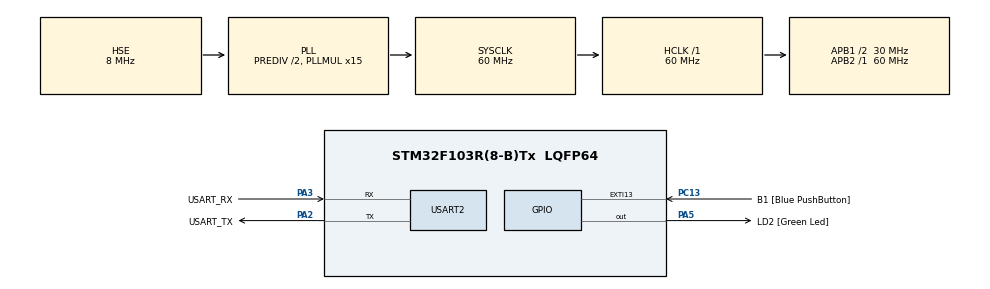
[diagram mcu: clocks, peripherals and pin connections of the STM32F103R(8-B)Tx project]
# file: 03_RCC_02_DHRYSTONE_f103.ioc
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Mcu.Family=STM32F1
Mcu.Name=STM32F103R(8-B)Tx
Mcu.Package=LQFP64
NVIC.EXTI15_10_IRQn=true\:0\:0\:false\:false\:true\:true\:true\:true
NVIC.PriorityGroup=NVIC_PRIORITYGROUP_4
PA13.GPIO_Label=TMS
PA13.Mode=Serial_Wire
PA13.Signal=SYS_JTMS-SWDIO
PA14.GPIO_Label=TCK
PA14.Mode=Serial_Wire
PA14.Signal=SYS_JTCK-SWCLK
PA2.GPIO_Label=USART_TX
PA2.GPIO_Mode=GPIO_MODE_AF_PP
PA2.GPIO_PuPd=GPIO_NOPULL
PA2.GPIO_Speed=GPIO_SPEED_FREQ_LOW
PA2.Mode=Asynchronous
PA2.Signal=USART2_TX
PA3.GPIO_Label=USART_RX
PA3.GPIO_Mode=GPIO_MODE_AF_PP
PA3.GPIO_PuPd=GPIO_NOPULL
PA3.GPIO_Speed=GPIO_SPEED_FREQ_LOW
PA3.Mode=Asynchronous
PA3.Signal=USART2_RX
PA5.GPIO_Label=LD2 [Green Led]
PA5.GPIO_ModeDefaultOutputPP=GPIO_MODE_OUTPUT_PP
PA5.GPIO_PuPd=GPIO_NOPULL
PA5.GPIO_Speed=GPIO_SPEED_FREQ_LOW
PA5.Signal=GPIO_Output
PB3.GPIO_Label=SWO
PB3.Signal=SYS_JTDO-TRACESWO
PC13-TAMPER-RTC.GPIO_Label=B1 [Blue PushButton]
PC13-TAMPER-RTC.GPIO_PuPd=GPIO_NOPULL
PC13-TAMPER-RTC.Signal=GPXTI13
PC14-OSC32_IN.Mode=LSE-External-Oscillator
PC14-OSC32_IN.Signal=RCC_OSC32_IN
PC15-OSC32_OUT.Mode=LSE-External-Oscillator
PC15-OSC32_OUT.Signal=RCC_OSC32_OUT
PD0-OSC_IN.Mode=HSE-External-Clock-Source
PD0-OSC_IN.Signal=RCC_OSC_IN
PD1-OSC_OUT.Mode=HSE-External-Clock-Source
PD1-OSC_OUT.Signal=RCC_OSC_OUT
ProjectManager.HeapSize=0x200
ProjectManager.StackSize=0x400
ProjectManager.TargetToolchain=STM32CubeIDE
RCC.AHBFreq_Value=60000000
RCC.APB1CLKDivider=RCC_HCLK_DIV2
RCC.APB1Freq_Value=30000000
RCC.APB1TimFreq_Value=60000000
RCC.APB2Freq_Value=60000000
RCC.APB2TimFreq_Value=60000000
RCC.HCLKFreq_Value=60000000
RCC.HSEDivPLL=RCC_HSE_PREDIV_DIV2
RCC.PLLMUL=RCC_PLL_MUL15
RCC.PLLSourceVirtual=RCC_PLLSOURCE_HSE
RCC.RTCClockSelection=RCC_RTCCLKSOURCE_LSE
RCC.SYSCLKFreq_VALUE=60000000
RCC.SYSCLKSource=RCC_SYSCLKSOURCE_PLLCLK
RCC.USBFreq_Value=60000000
USART2.VirtualMode=VM_ASYNC
board=NUCLEO-F103RB

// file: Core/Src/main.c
/* USER CODE BEGIN Header */
/**
  ******************************************************************************
  * @file           : main.c
  * @brief          : Main program body
  ******************************************************************************
  * @attention
  *
  * Copyright (c) 2022 STMicroelectronics.
  * All rights reserved.
  *
  * This software is licensed under terms that can be found in the LICENSE file
  * in the root directory of this software component.
  * If no LICENSE file comes with this software, it is provided AS-IS.
  *
  ******************************************************************************
  */
/* USER CODE END Header */
#include "main.h"

/* USER CODE BEGIN Includes */
#include <stdio.h>
#include <stdint.h>
#include <sys/_timeval.h>

/* USER CODE END Includes */

 UART_HandleTypeDef huart2;

/* USER CODE BEGIN PV */
int clock_counter;

/* USER CODE END PV */

void SystemClock_Config(void);
static void MX_GPIO_Init(void);
static void MX_USART2_UART_Init(void);
/* USER CODE BEGIN PFP */
int do_dhry(void);
/* USER CODE END PFP */

/* USER CODE BEGIN 0 */
int __io_putchar(int ch)
{
 if ( ch == '\n' )
	 HAL_UART_Transmit(&huart2, (uint8_t*)&"\r", 1, HAL_MAX_DELAY);
 HAL_UART_Transmit(&huart2, (uint8_t*)&ch, 1, HAL_MAX_DELAY);
 return ch;
}

int __io_getchar(void)
{
	uint8_t ch;

	while( HAL_OK != HAL_UART_Receive(&huart2, &ch, 1, HAL_MAX_DELAY) )
	{
		;
	}
	return ch;
}

/* USER CODE END 0 */

int main(void)
{

  /* MCU Configuration--------------------------------------------------------*/

  /* Reset of all peripherals, Initializes the Flash interface and the Systick. */
  HAL_Init();

  /* Configure the system clock */
  SystemClock_Config();

  /* Initialize all configured peripherals */
  MX_GPIO_Init();
  MX_USART2_UART_Init();
  /* USER CODE BEGIN 2 */
  printf("\n\n\nHELLO, STM32\n");

  // System speed measurement
  printf("Benchmarking. Please wait...\n");
  do_dhry();

  /* USER CODE END 2 */

  /* Infinite loop */
  while (1)
  {

  }
}

void SystemClock_Config(void)
{
  RCC_OscInitTypeDef RCC_OscInitStruct = {0};
  RCC_ClkInitTypeDef RCC_ClkInitStruct = {0};

  /** Initializes the RCC Oscillators according to the specified parameters
  * in the RCC_OscInitTypeDef structure.
  */
  RCC_OscInitStruct.OscillatorType = RCC_OSCILLATORTYPE_HSE;
  RCC_OscInitStruct.HSEState = RCC_HSE_BYPASS;
  RCC_OscInitStruct.HSEPredivValue = RCC_HSE_PREDIV_DIV2;
  RCC_OscInitStruct.HSIState = RCC_HSI_ON;
  RCC_OscInitStruct.PLL.PLLState = RCC_PLL_ON;
  RCC_OscInitStruct.PLL.PLLSource = RCC_PLLSOURCE_HSE;
  RCC_OscInitStruct.PLL.PLLMUL = RCC_PLL_MUL15;
  if (HAL_RCC_OscConfig(&RCC_OscInitStruct) != HAL_OK)
  {
    Error_Handler();
  }

  /** Initializes the CPU, AHB and APB buses clocks
  */
  RCC_ClkInitStruct.ClockType = RCC_CLOCKTYPE_HCLK|RCC_CLOCKTYPE_SYSCLK
                              |RCC_CLOCKTYPE_PCLK1|RCC_CLOCKTYPE_PCLK2;
  RCC_ClkInitStruct.SYSCLKSource = RCC_SYSCLKSOURCE_PLLCLK;
  RCC_ClkInitStruct.AHBCLKDivider = RCC_SYSCLK_DIV1;
  RCC_ClkInitStruct.APB1CLKDivider = RCC_HCLK_DIV2;
  RCC_ClkInitStruct.APB2CLKDivider = RCC_HCLK_DIV1;

  if (HAL_RCC_ClockConfig(&RCC_ClkInitStruct, FLASH_LATENCY_2) != HAL_OK)
  {
    Error_Handler();
  }
}

static void MX_USART2_UART_Init(void)
{

  huart2.Instance = USART2;
  huart2.Init.BaudRate = 115200;
  huart2.Init.WordLength = UART_WORDLENGTH_8B;
  huart2.Init.StopBits = UART_STOPBITS_1;
  huart2.Init.Parity = UART_PARITY_NONE;
  huart2.Init.Mode = UART_MODE_TX_RX;
  huart2.Init.HwFlowCtl = UART_HWCONTROL_NONE;
  huart2.Init.OverSampling = UART_OVERSAMPLING_16;
  if (HAL_UART_Init(&huart2) != HAL_OK)
  {
    Error_Handler();
  }

}

static void MX_GPIO_Init(void)
{
  GPIO_InitTypeDef GPIO_InitStruct = {0};

  /* GPIO Ports Clock Enable */
  __HAL_RCC_GPIOC_CLK_ENABLE();
  __HAL_RCC_GPIOD_CLK_ENABLE();
  __HAL_RCC_GPIOA_CLK_ENABLE();
  __HAL_RCC_GPIOB_CLK_ENABLE();

  /*Configure GPIO pin Output Level */
  HAL_GPIO_WritePin(LD2_GPIO_Port, LD2_Pin, GPIO_PIN_RESET);

  /*Configure GPIO pin : B1_Pin */
  GPIO_InitStruct.Pin = B1_Pin;
  GPIO_InitStruct.Mode = GPIO_MODE_IT_RISING;
  GPIO_InitStruct.Pull = GPIO_NOPULL;
  HAL_GPIO_Init(B1_GPIO_Port, &GPIO_InitStruct);

  /*Configure GPIO pin : LD2_Pin */
  GPIO_InitStruct.Pin = LD2_Pin;
  GPIO_InitStruct.Mode = GPIO_MODE_OUTPUT_PP;
  GPIO_InitStruct.Pull = GPIO_NOPULL;
  GPIO_InitStruct.Speed = GPIO_SPEED_FREQ_LOW;
  HAL_GPIO_Init(LD2_GPIO_Port, &GPIO_InitStruct);

  /* EXTI interrupt init*/
  HAL_NVIC_SetPriority(EXTI15_10_IRQn, 0, 0);
  HAL_NVIC_EnableIRQ(EXTI15_10_IRQn);

}

void Error_Handler(void)
{
  __disable_irq();
  while (1)
  {
  }
}
